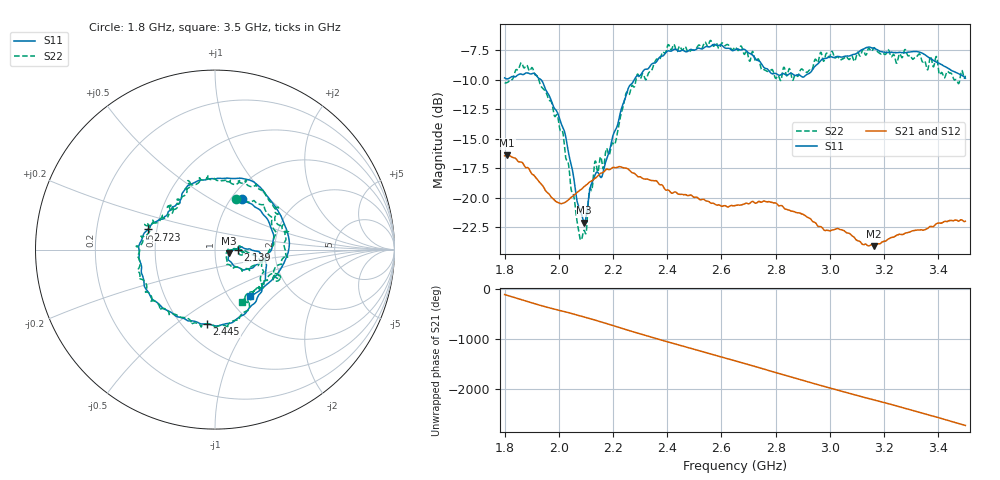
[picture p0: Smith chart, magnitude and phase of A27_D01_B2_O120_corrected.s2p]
! Created with skrf 1.9.0 (http://scikit-rf.org).
# Hz S RI R 50.0
!freq ReS11 ImS11 ReS21 ImS21 ReS12 ImS12 ReS22 ImS22
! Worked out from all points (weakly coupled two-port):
!   1601 points, 1.8 GHz to 3.5 GHz, reference 50 ohm
!   highest |S21| = -16.42 dB at 1.81 GHz (marker M1); lowest = -24.1 dB at 3.162 GHz (marker M2)
!   lowest |S11| = -22.1 dB at 2.093 GHz (marker M3), VSWR 1.17, Z = 58.1 - j2.53 ohm
!   |S11| at or under -10 dB: 1.934 GHz to 2.279 GHz (344.6 MHz wide, 16.4 % of centre)
!   |S22| runs from -23.6 to -6.7 dB; largest |S21 - S12| = 0.0029
!   S11 on the Smith chart (normalised r, x): 1.8 GHz: 1.12, +0.71; 2.139 GHz: 1.29, -0.01; 2.445 GHz: 0.65, -0.66; 2.723 GHz: 0.45, +0.12; 3.5 GHz: 1.25, -0.71
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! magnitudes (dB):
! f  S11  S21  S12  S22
! 1.8 GHz  -9.8  -16.5  -16.5  -10.3
! 1.81 GHz  -9.9  -16.4  -16.4  -10.2
! 1.881 GHz  -9.4  -17.5  -17.5  -8.8
! 1.969 GHz  -11.6  -19.9  -19.9  -11.8
! 2.014 GHz  -14.0  -20.5  -20.5  -14.4
! 2.084 GHz  -21.4  -19.3  -19.2  -23.5
! 2.093 GHz  -22.1  -19.1  -19.1  -22.8
! 2.139 GHz  -17.8  -18.3  -18.3  -17.3
! 2.161 GHz  -18.1  -17.9  -17.8  -17.4
! 2.208 GHz  -14.3  -17.5  -17.4  -15.4
! 2.26 GHz  -10.6  -17.7  -17.7  -11.3
! 2.367 GHz  -8.2  -18.8  -18.7  -8.3
! 2.445 GHz  -7.6  -19.7  -19.7  -7.2
! 2.65 GHz  -7.5  -20.7  -20.6  -7.2
! 2.723 GHz  -8.2  -20.4  -20.4  -8.3
! 2.813 GHz  -9.6  -20.7  -20.6  -9.8
! 2.934 GHz  -9.2  -21.9  -21.9  -9.2
! 2.966 GHz  -8.4  -22.4  -22.5  -7.7
! 3.162 GHz  -7.3  -24.1  -24.1  -7.3
! 3.217 GHz  -7.7  -23.5  -23.5  -7.5
! 3.331 GHz  -7.7  -22.7  -22.7  -7.8
! 3.5 GHz  -9.9  -22.0  -22.0  -9.7
